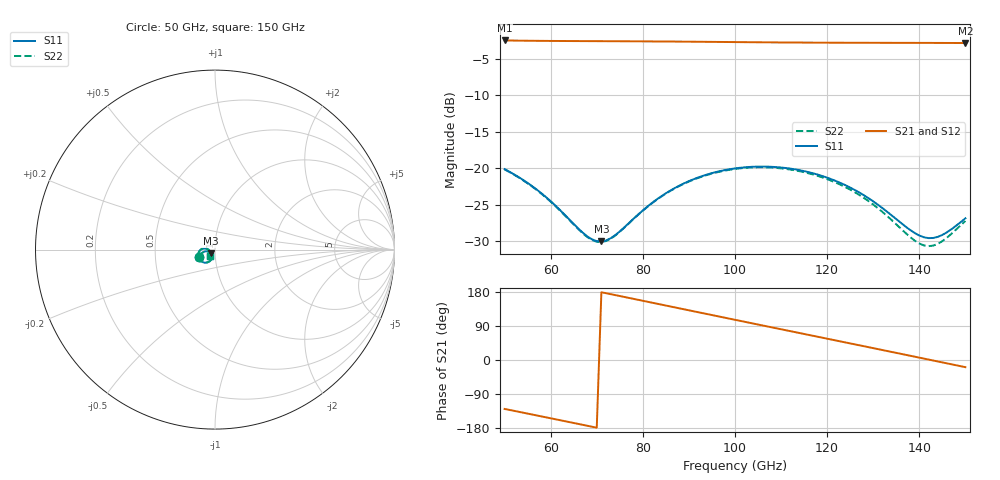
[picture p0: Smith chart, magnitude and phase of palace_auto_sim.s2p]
#  GHZ S DB R 50
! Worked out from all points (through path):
!   101 points, 50 GHz to 150 GHz, reference 50 ohm
!   highest |S21| = -2.45 dB at 50 GHz (marker M1); lowest = -2.8 dB at 150 GHz (marker M2)
!   group delay of S21, straight-line fit = 6.94 ps
!   lowest |S11| = -30.0 dB at 71 GHz (marker M3), VSWR 1.07, Z = 47.7 - j2.01 ohm
!   |S11| at or under -10 dB: start of sweep to end of sweep
!   |S22| runs from -30.7 to -19.9 dB; largest |S21 - S12| = 0
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50  -20.11 -154.6  -2.45 -129.1  -2.45 -129.1  -20.15 -154.8
55  -22.01 -163.8  -2.49 -141.4  -2.49 -141.4  -22.06 -164.0
59  -23.95 -168.4  -2.51 -151.3  -2.51 -151.3  -24.02 -168.6
67  -28.85 -158.9  -2.54 -171.2  -2.54 -171.2  -28.94 -159.0
69  -29.75 -149.5  -2.54 -176.2  -2.54 -176.2  -29.84 -149.5
71  -30.03 -138.0  -2.55 178.8  -2.55 178.8  -30.12 -137.9
73  -29.60 -127.0  -2.55 173.8  -2.55 173.8  -29.66 -126.9
77  -27.49 -113.5  -2.57 163.8  -2.57 163.8  -27.53 -113.6
84  -23.83 -112.0  -2.59 146.2  -2.59 146.2  -23.87 -112.3
92  -21.25 -123.1  -2.63 126.1  -2.63 126.1  -21.31 -123.6
100  -20.01 -137.9  -2.67 106.1  -2.67 106.1  -20.08 -138.6
104  -19.78 -145.8  -2.70 96.1  -2.70 96.1  -19.87 -146.6
108  -19.79 -153.5  -2.71 86.1  -2.71 86.1  -19.90 -154.5
112  -20.04 -161.2  -2.73 76.2  -2.73 76.2  -20.17 -162.3
117  -20.69 -170.2  -2.75 63.7  -2.75 63.7  -20.86 -171.6
126  -22.97 177.0  -2.77 41.3  -2.77 41.3  -23.28 175.0
130  -24.53 174.3  -2.77 31.3  -2.77 31.3  -24.97 172.0
134  -26.45 175.5  -2.78 21.3  -2.78 21.3  -27.09 173.2
139  -28.87 -172.7  -2.78 8.7  -2.78 8.7  -29.91 -173.3
142  -29.57 -159.2  -2.79 1.2  -2.79 1.2  -30.68 -157.0
145  -29.13 -145.1  -2.79 -6.3  -2.79 -6.3  -29.99 -140.6
150  -26.85 -131.3  -2.80 -18.9  -2.80 -18.9  -27.21 -126.5
